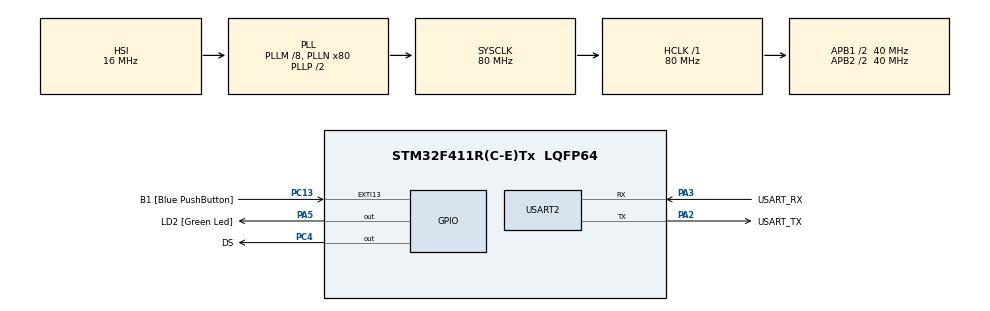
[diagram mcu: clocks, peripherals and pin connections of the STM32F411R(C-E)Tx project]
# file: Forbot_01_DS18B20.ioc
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Mcu.Family=STM32F4
Mcu.Name=STM32F411R(C-E)Tx
Mcu.Package=LQFP64
NVIC.PriorityGroup=NVIC_PRIORITYGROUP_0
PA13.GPIO_Label=TMS
PA13.Mode=Serial_Wire
PA13.Signal=SYS_JTMS-SWDIO
PA14.GPIO_Label=TCK
PA14.Mode=Serial_Wire
PA14.Signal=SYS_JTCK-SWCLK
PA2.GPIO_Label=USART_TX
PA2.Mode=Asynchronous
PA2.Signal=USART2_TX
PA3.GPIO_Label=USART_RX
PA3.Mode=Asynchronous
PA3.Signal=USART2_RX
PA5.GPIO_Label=LD2 [Green Led]
PA5.Signal=GPIO_Output
PB3.GPIO_Label=SWO
PB3.Signal=SYS_JTDO-SWO
PC13-ANTI_TAMP.GPIO_Label=B1 [Blue PushButton]
PC13-ANTI_TAMP.GPIO_ModeDefaultEXTI=GPIO_MODE_IT_FALLING
PC13-ANTI_TAMP.Signal=GPXTI13
PC14-OSC32_IN.Mode=LSE-External-Oscillator
PC14-OSC32_IN.Signal=RCC_OSC32_IN
PC15-OSC32_OUT.Mode=LSE-External-Oscillator
PC15-OSC32_OUT.Signal=RCC_OSC32_OUT
PC4.GPIO_Label=DS
PC4.GPIO_ModeDefaultOutputPP=GPIO_MODE_OUTPUT_OD
PC4.GPIO_PuPd=GPIO_NOPULL
PC4.PinState=GPIO_PIN_SET
PC4.Signal=GPIO_Output
PH0\ -\ OSC_IN.Mode=HSE-External-Clock-Source
PH0\ -\ OSC_IN.Signal=RCC_OSC_IN
PH1\ -\ OSC_OUT.Mode=HSE-External-Clock-Source
PH1\ -\ OSC_OUT.Signal=RCC_OSC_OUT
ProjectManager.HeapSize=0x200
ProjectManager.StackSize=0x400
ProjectManager.TargetToolchain=STM32CubeIDE
RCC.48MHZClocksFreq_Value=40000000
RCC.AHBFreq_Value=80000000
RCC.APB1CLKDivider=RCC_HCLK_DIV2
RCC.APB1Freq_Value=40000000
RCC.APB1TimFreq_Value=80000000
RCC.APB2CLKDivider=RCC_HCLK_DIV2
RCC.APB2Freq_Value=40000000
RCC.APB2TimFreq_Value=80000000
RCC.CortexFreq_Value=80000000
RCC.FLatency-AdvancedSettings=FLASH_LATENCY_2
RCC.HCLKFreq_Value=80000000
RCC.HSE_VALUE=8000000
RCC.HSI_VALUE=16000000
RCC.PLLM=8
RCC.PLLN=80
RCC.SYSCLKFreq_VALUE=80000000
RCC.SYSCLKSource=RCC_SYSCLKSOURCE_PLLCLK
RCC.VCOOutputFreq_Value=160000000
TIM10.Prescaler=79
USART2.VirtualMode=VM_ASYNC
VP_TIM10_VS_ClockSourceINT.Mode=Enable_Timer
board=NUCLEO-F411RE

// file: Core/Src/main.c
/* USER CODE BEGIN Header */
/**
  ******************************************************************************
  * @file           : main.c
  * @brief          : Main program body
  ******************************************************************************
  * @attention
  *
  * Copyright (c) 2021 STMicroelectronics.
  * All rights reserved.
  *
  * This software is licensed under terms that can be found in the LICENSE file
  * in the root directory of this software component.
  * If no LICENSE file comes with this software, it is provided AS-IS.
  *
  ******************************************************************************
  */
/* USER CODE END Header */
#include "main.h"
#include "tim.h"
#include "usart.h"
#include "gpio.h"
#include "ds18b20.h"

#include <stdio.h>

void SystemClock_Config(void);

int main(void)
{
  /* USER CODE BEGIN 1 */
	int __io_putchar(int ch)
	{
	  if (ch == '\n') {
	    __io_putchar('\r');
	  }

	  HAL_UART_Transmit(&huart2, (uint8_t*)&ch, 1, HAL_MAX_DELAY);

	  return 1;
	}
  /* USER CODE END 1 */

  /* MCU Configuration--------------------------------------------------------*/

  /* Reset of all peripherals, Initializes the Flash interface and the Systick. */
  HAL_Init();

  /* Configure the system clock */
  SystemClock_Config();

  /* Initialize all configured peripherals */
  MX_GPIO_Init();
  MX_USART2_UART_Init();
  MX_TIM10_Init();
  /* USER CODE BEGIN 2 */
  if (ds18b20_init() != HAL_OK) {
    Error_Handler();
  }

  const uint8_t ds1[] = { 0x28, 0x5b, 0x9d, 0x96, 0x3a, 0x19, 0x1, 0xcf }; // zew
  const uint8_t ds2[] = { 0x28, 0xff, 0x8e, 0xfc, 0x71, 0x15, 0x3, 0xf7 }; // wew
  /* USER CODE END 2 */

  /* Infinite loop */
  /* USER CODE BEGIN WHILE */
  while (1)
  {
	  	ds18b20_start_measure(ds1);
	    ds18b20_start_measure(ds2);

	    HAL_Delay(750);

	    float temp = ds18b20_get_temp(ds1);
	    if (temp <= -80.0f)
	      printf("Sensor error (1)...\n");
	    else
	      printf("T1 = %.1f*C\n", temp);

	    temp = ds18b20_get_temp(ds2);
	    if (temp <= -80.0f)
	      printf("Sensor error (2)...\n");
	    else
	      printf("T2 = %.1f*C\n", temp);
    /* USER CODE END WHILE */

  }
}

void SystemClock_Config(void)
{
  RCC_OscInitTypeDef RCC_OscInitStruct = {0};
  RCC_ClkInitTypeDef RCC_ClkInitStruct = {0};

  /** Configure the main internal regulator output voltage
  */
  __HAL_RCC_PWR_CLK_ENABLE();
  __HAL_PWR_VOLTAGESCALING_CONFIG(PWR_REGULATOR_VOLTAGE_SCALE1);
  /** Initializes the RCC Oscillators according to the specified parameters
  * in the RCC_OscInitTypeDef structure.
  */
  RCC_OscInitStruct.OscillatorType = RCC_OSCILLATORTYPE_HSI;
  RCC_OscInitStruct.HSIState = RCC_HSI_ON;
  RCC_OscInitStruct.HSICalibrationValue = RCC_HSICALIBRATION_DEFAULT;
  RCC_OscInitStruct.PLL.PLLState = RCC_PLL_ON;
  RCC_OscInitStruct.PLL.PLLSource = RCC_PLLSOURCE_HSI;
  RCC_OscInitStruct.PLL.PLLM = 8;
  RCC_OscInitStruct.PLL.PLLN = 80;
  RCC_OscInitStruct.PLL.PLLP = RCC_PLLP_DIV2;
  RCC_OscInitStruct.PLL.PLLQ = 4;
  if (HAL_RCC_OscConfig(&RCC_OscInitStruct) != HAL_OK)
  {
    Error_Handler();
  }
  /** Initializes the CPU, AHB and APB buses clocks
  */
  RCC_ClkInitStruct.ClockType = RCC_CLOCKTYPE_HCLK|RCC_CLOCKTYPE_SYSCLK
                              |RCC_CLOCKTYPE_PCLK1|RCC_CLOCKTYPE_PCLK2;
  RCC_ClkInitStruct.SYSCLKSource = RCC_SYSCLKSOURCE_PLLCLK;
  RCC_ClkInitStruct.AHBCLKDivider = RCC_SYSCLK_DIV1;
  RCC_ClkInitStruct.APB1CLKDivider = RCC_HCLK_DIV2;
  RCC_ClkInitStruct.APB2CLKDivider = RCC_HCLK_DIV2;

  if (HAL_RCC_ClockConfig(&RCC_ClkInitStruct, FLASH_LATENCY_2) != HAL_OK)
  {
    Error_Handler();
  }
}

void Error_Handler(void)
{
  __disable_irq();
  while (1)
  {
  }
}
